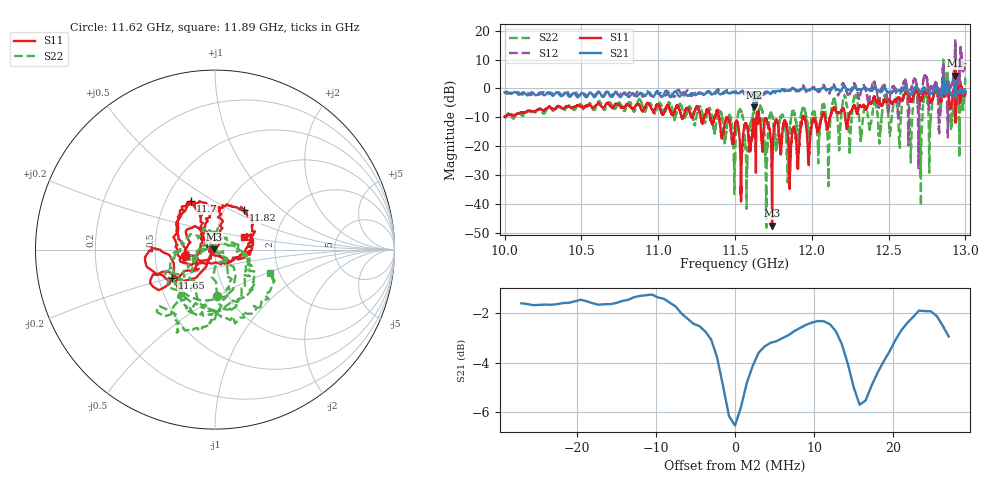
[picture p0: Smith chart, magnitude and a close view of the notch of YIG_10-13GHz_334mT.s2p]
#  HZ  S  RI  R  50.0
! Rohde & Schwarz ZVL13 2Ports - Version 3.31 - 1303.6509k13 SN: 101088
! Date: 2023-03-06 15:56:49
! Data & Calibration Information:
! Trc4:S11(TOSM) Trc2:S21(TOSM) Trc3:S12(TOSM) Trc5:S22(TOSM)
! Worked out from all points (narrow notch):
!   4000 points, 10 GHz to 13 GHz, reference 50 ohm
!   highest |S21| = 4.37 dB at 12.93 GHz (marker M1); lowest = -6.6 dB at 11.62 GHz (marker M2)
!   notch at M2: 5.1 dB deep, 4.58 MHz wide at half that depth
!   lowest |S11| = -47.5 dB at 11.74 GHz (marker M3), VSWR 1.01, Z = 49.6 + j0.153 ohm
!   |S11| at or under -10 dB: 11.45 GHz to 11.64 GHz (191.2 MHz wide, 1.66 % of centre); 11.66 GHz to 11.94 GHz (283.4 MHz wide, 2.4 % of centre); 11.95 GHz to 12.06 GHz (112.5 MHz wide, 0.937 % of centre)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
!   |S22| runs from -48.2 to 15.3 dB; largest |S21 - S12| = 5.8
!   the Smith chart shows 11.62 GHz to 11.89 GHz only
!   S11 on the Smith chart (normalised r, x): 11.62 GHz: 0.71, -0.05; 11.65 GHz: 0.59, -0.20; 11.7 GHz: 0.67, +0.40; 11.82 GHz: 1.22, +0.58; 11.89 GHz: 1.36, +0.19
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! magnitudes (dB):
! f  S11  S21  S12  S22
! 10 GHz  -9.7  -1.4  -1.5  -10.4
! 10.5 GHz  -6.3  -1.6  -1.8  -5.7
! 11 GHz  -5.7  -1.2  -1.8  -5.6
! 11.4 GHz  -11.7  -2.0  -1.2  -7.8
! 11.5 GHz  -12.3  -1.5  -1.4  -23.4
! 11.53 GHz  -17.7  -1.6  -1.3  -7.4
! 11.58 GHz  -12.8  -1.6  -1.6  -31.7
! 11.62 GHz  -11.4  -6.6  -5.6  -7.5
! 11.62 GHz  -15.4  -4.1  -4.4  -11.7
! 11.65 GHz  -10.9  -3.3  -2.8  -9.8
! 11.7 GHz  -10.4  -1.2  -1.8  -25.2
! 11.74 GHz  -47.5  -1.3  -1.4  -9.1
! 11.82 GHz  -11.3  -0.6  -1.1  -12.1
! 11.89 GHz  -15.2  -0.4  -0.6  -9.5
! 12 GHz  -12.7  -0.1  0.1  -10.1
! 12.5 GHz  -3.9  -1.2  -7.9  -10.5
! 12.61 GHz  -1.3  0.1  2.2  1.2
! 12.71 GHz  -3.9  -1.1  -2.1  -26.9
! 12.87 GHz  -0.4  -1.1  -0.1  3.0
! 12.91 GHz  -5.6  -2.4  0.8  -12.3
! 12.93 GHz  4.6  4.4  15.2  12.4
! 13 GHz  -1.9  -1.3  8.8  3.7
